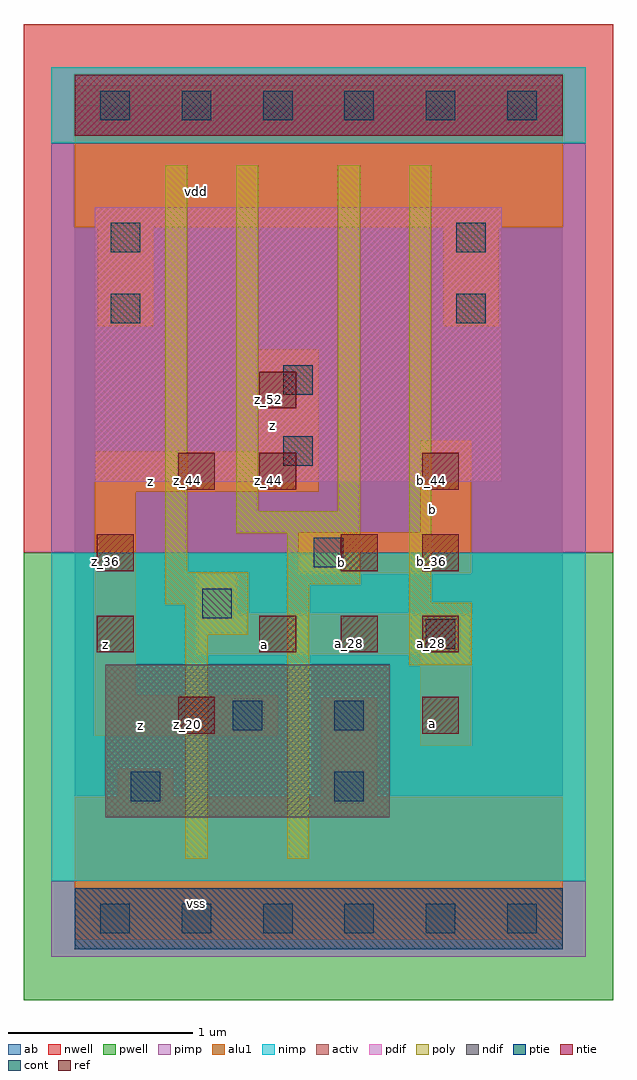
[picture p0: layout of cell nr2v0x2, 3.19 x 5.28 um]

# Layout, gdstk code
import gdstk
lib = gdstk.Library(unit=1e-6, precision=2.5e-09)
def R(c, l, rs):  # rectangles x0, y0, x1, y1
    for r in rs: c.add(gdstk.rectangle(r[:2], r[2:], *l))
def A(c, l, x, y, w, h, nx, ny, dx, dy):  # array of equal rectangles
    R(c, l, [(x+i*dx, y+j*dy, x+i*dx+w, y+j*dy+h) for i in range(nx) for j in range(ny)])
ndif = (3, 0)
pdif = (4, 0)
ntie = (5, 0)
ptie = (6, 0)
ref = (24, 0)
cont = (25, 0)
pwell = (41, 0)
nwell = (42, 0)
activ = (43, 0)
pimp = (44, 0)
nimp = (45, 0)
poly = (46, 0)
alu1 = (49, 0)
ab = (63, 0)

nr2v0x2 = lib.new_cell('nr2v0x2')
R(nr2v0x2, ndif, [(0.165,0.55,1.705,1.375)])
R(nr2v0x2, pdif, [(0.11,2.365,2.31,3.85)])
R(nr2v0x2, ntie, [(0,4.235,2.64,4.565)])
R(nr2v0x2, ptie, [(0,-0.165,2.64,0.165)])
A(nr2v0x2, ref, 1, 1.44, 0.2, 0.2, 3, 1, 0.44, 0)
R(nr2v0x2, ref, [(0.56,1,0.76,1.2), (1.88,1,2.08,1.2), (0.12,1.44,0.32,1.64), (0.12,1.88,0.32,2.08), (1.44,1.88,1.64,2.08), (1.88,1.88,2.08,2.08), (0.56,2.32,0.76,2.52), (1,2.32,1.2,2.52), (1.88,2.32,2.08,2.52), (1,2.76,1.2,2.96)])
A(nr2v0x2, cont, 0.14, -0.08, 0.16, 0.16, 6, 2, 0.44, 4.4)
R(nr2v0x2, cont, [(0.305,0.635,0.465,0.795), (1.405,0.635,1.565,0.795), (0.855,1.02,1.015,1.18), (1.405,1.02,1.565,1.18), (1.9,1.46,2.06,1.62), (0.69,1.625,0.85,1.785), (1.295,1.9,1.455,2.06), (1.13,2.45,1.29,2.61), (1.13,2.835,1.29,2.995), (0.195,3.22,0.355,3.38), (2.065,3.22,2.225,3.38), (0.195,3.605,0.355,3.765), (2.065,3.605,2.225,3.765)])
R(nr2v0x2, pwell, [(-0.275,-0.44,2.915,1.98)])
R(nr2v0x2, nwell, [(-0.275,1.98,2.915,4.84)])
R(nr2v0x2, activ, [(0,-0.165,2.64,0.165), (0.165,0.55,1.705,1.375), (0.11,2.365,2.31,3.85), (0,4.235,2.64,4.565)])
R(nr2v0x2, pimp, [(-0.125,-0.205,2.765,0.205), (-0.125,1.98,2.765,4.195)])
R(nr2v0x2, nimp, [(-0.125,0.205,2.765,1.98), (-0.125,4.195,2.765,4.605)])
R(nr2v0x2, poly, [(0.6,0.325,0.72,1.535), (1.15,0.325,1.27,1.81), (1.81,1.37,2.15,1.71), (0.6,1.535,0.94,1.7), (0.49,1.7,0.94,1.875), (1.81,1.71,1.93,4.075), (1.15,1.81,1.545,2.085), (0.49,1.875,0.61,4.075), (0.875,2.085,1.545,2.205), (0.875,2.205,0.995,4.075), (1.425,2.205,1.545,4.075)])
R(nr2v0x2, alu1, [(0,-0.11,2.64,0.66), (0.235,0.66,0.535,0.81), (1.335,0.66,1.635,1.195), (1.87,0.935,2.145,1.43), (0.11,0.99,1.1,1.21), (0.11,1.21,0.33,2.31), (0.66,1.43,2.145,1.65), (0.66,1.65,0.88,1.87), (1.21,1.87,2.145,2.09), (1.87,2.09,2.145,2.585), (0.11,2.31,1.32,2.53), (0.99,2.53,1.32,3.08), (0.125,3.205,0.425,3.74), (1.995,3.205,2.295,3.74), (0,3.74,2.64,4.51)])
R(nr2v0x2, ab, [(0,0,2.64,4.4)])
nr2v0x2.add(gdstk.Label('vss', (0.66,0.0825), layer=49, texttype=0))
nr2v0x2.add(gdstk.Label('a', (1.9375,1.0575), layer=49, texttype=0))
nr2v0x2.add(gdstk.Label('z', (0.3575,1.045), layer=49, texttype=0))
nr2v0x2.add(gdstk.Label('a', (1.03,1.485), layer=49, texttype=0))
nr2v0x2.add(gdstk.Label('b', (1.4425,1.925), layer=49, texttype=0))
nr2v0x2.add(gdstk.Label('b', (1.9375,2.2125), layer=49, texttype=0))
nr2v0x2.add(gdstk.Label('z', (0.165,1.485), layer=49, texttype=0))
nr2v0x2.add(gdstk.Label('z', (0.4125,2.365), layer=49, texttype=0))
nr2v0x2.add(gdstk.Label('z', (1.0725,2.6675), layer=49, texttype=0))
nr2v0x2.add(gdstk.Label('vdd', (0.66,3.9325), layer=49, texttype=0))
nr2v0x2.add(gdstk.Label('z_20', (0.61,1.05), layer=24, texttype=0))
nr2v0x2.add(gdstk.Label('z_44', (0.61,2.37), layer=24, texttype=0))
nr2v0x2.add(gdstk.Label('a_28', (1.05,1.49), layer=24, texttype=0))
nr2v0x2.add(gdstk.Label('z_44', (1.05,2.37), layer=24, texttype=0))
nr2v0x2.add(gdstk.Label('z_52', (1.05,2.81), layer=24, texttype=0))
nr2v0x2.add(gdstk.Label('a_28', (1.49,1.49), layer=24, texttype=0))
nr2v0x2.add(gdstk.Label('b_36', (1.49,1.93), layer=24, texttype=0))
nr2v0x2.add(gdstk.Label('a_20', (1.93,1.05), layer=24, texttype=0))
nr2v0x2.add(gdstk.Label('a_28', (1.93,1.49), layer=24, texttype=0))
nr2v0x2.add(gdstk.Label('b_36', (1.93,1.93), layer=24, texttype=0))
nr2v0x2.add(gdstk.Label('b_44', (1.93,2.37), layer=24, texttype=0))
nr2v0x2.add(gdstk.Label('z_28', (0.17,1.49), layer=24, texttype=0))
nr2v0x2.add(gdstk.Label('z_36', (0.17,1.93), layer=24, texttype=0))

lib.write_gds('nr2v0x2.gds')
